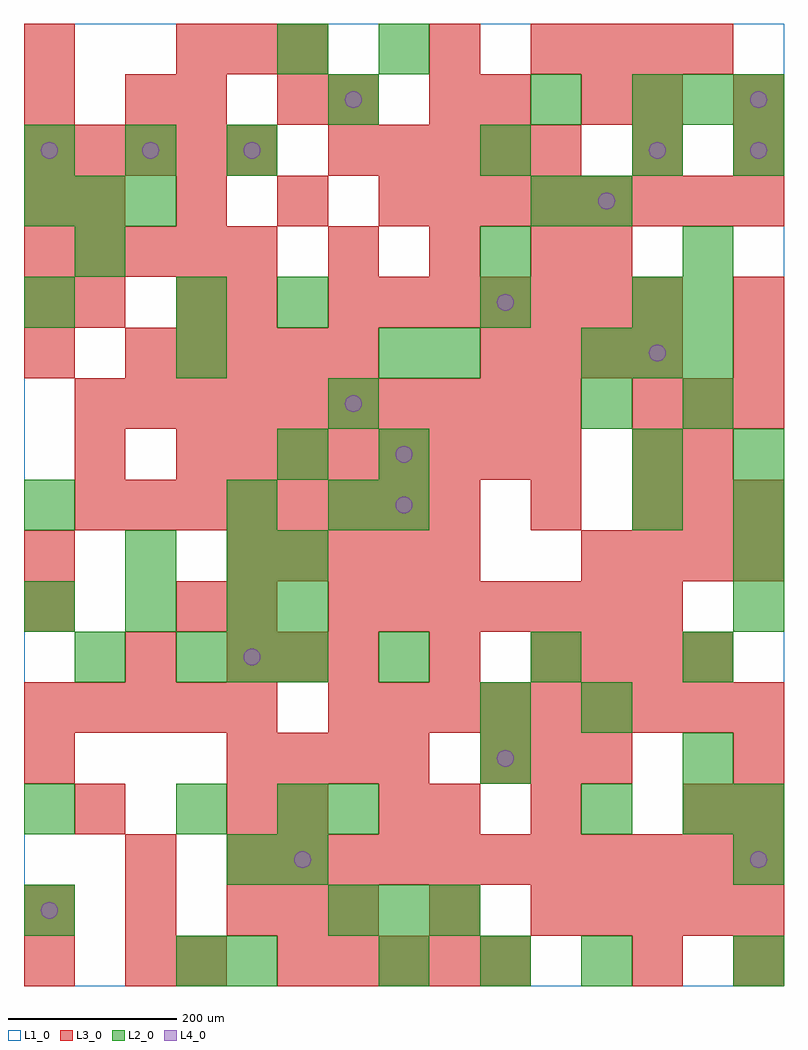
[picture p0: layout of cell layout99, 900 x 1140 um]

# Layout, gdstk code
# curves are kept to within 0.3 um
import gdstk
lib = gdstk.Library(unit=1e-6, precision=1e-09)
def R(c, l, rs):  # rectangles x0, y0, x1, y1
    for r in rs: c.add(gdstk.rectangle(r[:2], r[2:], *l))
def A(c, l, x, y, w, h, nx, ny, dx, dy):  # array of equal rectangles
    R(c, l, [(x+i*dx, y+j*dy, x+i*dx+w, y+j*dy+h) for i in range(nx) for j in range(ny)])
def P(c, l, *ps):  # polygons
    for p in ps: c.add(gdstk.Polygon(p, *l))
L1_0 = (1, 0)
L2_0 = (2, 0)
L3_0 = (3, 0)
L4_0 = (4, 0)

layout99 = lib.new_cell('layout99')
R(layout99, L1_0, [(0,0,900,1140)])
A(layout99, L2_0, 420, 0, 60, 60, 3, 1, 120, 0)
A(layout99, L2_0, 360, 60, 60, 60, 3, 1, 60, 0)
A(layout99, L2_0, 180, 360, 60, 60, 3, 1, 60, 0)
A(layout99, L2_0, 420, 360, 60, 60, 3, 1, 180, 0)
A(layout99, L2_0, 0, 420, 60, 60, 3, 2, 120, 540)
A(layout99, L2_0, 840, 420, 60, 60, 1, 4, 0, 60)
A(layout99, L2_0, 720, 600, 60, 60, 1, 3, 0, 180)
A(layout99, L2_0, 660, 720, 60, 60, 3, 1, 60, 0)
A(layout99, L2_0, 0, 900, 60, 60, 3, 1, 60, 0)
A(layout99, L2_0, 720, 1020, 60, 60, 3, 1, 60, 0)
R(layout99, L2_0, [(180,0,240,60), (240,0,300,60), (840,0,900,60), (0,60,60,120), (240,120,300,180), (300,120,360,180), (840,120,900,180), (0,180,60,240), (180,180,240,240), (300,180,360,240), (360,180,420,240), (660,180,720,240), (780,180,840,240), (840,180,900,240), (540,240,600,300), (780,240,840,300), (540,300,600,360), (660,300,720,360), (60,360,120,420), (300,420,360,480), (120,480,180,540), (240,480,300,540), (300,480,360,540), (0,540,60,600), (240,540,300,600), (360,540,420,600), (420,540,480,600), (720,540,780,600), (300,600,360,660), (420,600,480,660), (360,660,420,720), (660,660,720,720), (780,660,840,720), (180,720,240,780), (420,720,480,780), (480,720,540,780), (0,780,60,840), (180,780,240,840), (300,780,360,840), (540,780,600,840), (780,780,840,840), (60,840,120,900), (540,840,600,900), (780,840,840,900), (600,900,660,960), (660,900,720,960), (540,960,600,1020), (840,960,900,1020), (360,1020,420,1080), (600,1020,660,1080), (300,1080,360,1140), (420,1080,480,1140)])
A(layout99, L3_0, 300, 0, 60, 60, 5, 1, 60, 0)
A(layout99, L3_0, 0, 60, 60, 60, 3, 1, 120, 0)
A(layout99, L3_0, 360, 60, 60, 60, 3, 2, 120, 780)
A(layout99, L3_0, 660, 60, 60, 60, 4, 2, 60, 420)
A(layout99, L3_0, 240, 120, 60, 60, 11, 1, 60, 0)
A(layout99, L3_0, 240, 240, 60, 60, 4, 1, 60, 0)
A(layout99, L3_0, 540, 240, 60, 60, 3, 1, 60, 0)
A(layout99, L3_0, 0, 300, 60, 60, 5, 2, 60, 540)
A(layout99, L3_0, 360, 300, 60, 60, 9, 1, 60, 0)
A(layout99, L3_0, 240, 360, 60, 60, 3, 1, 60, 0)
A(layout99, L3_0, 600, 360, 60, 60, 4, 2, 60, 720)
A(layout99, L3_0, 360, 420, 60, 60, 7, 2, 60, 360)
A(layout99, L3_0, 240, 480, 60, 60, 5, 1, 60, 0)
A(layout99, L3_0, 60, 540, 60, 60, 8, 1, 60, 0)
A(layout99, L3_0, 720, 540, 60, 60, 3, 2, 60, 120)
A(layout99, L3_0, 180, 600, 60, 60, 8, 1, 60, 0)
A(layout99, L3_0, 60, 660, 60, 60, 10, 1, 60, 0)
A(layout99, L3_0, 120, 720, 60, 60, 5, 1, 60, 0)
A(layout99, L3_0, 540, 720, 60, 60, 4, 1, 60, 0)
A(layout99, L3_0, 0, 780, 60, 60, 1, 3, 0, 120)
A(layout99, L3_0, 60, 900, 60, 60, 4, 1, 120, 0)
A(layout99, L3_0, 480, 900, 60, 60, 7, 1, 60, 0)
A(layout99, L3_0, 0, 960, 60, 60, 5, 1, 60, 0)
A(layout99, L3_0, 360, 960, 60, 60, 5, 1, 60, 0)
A(layout99, L3_0, 180, 1080, 60, 60, 3, 1, 60, 0)
R(layout99, L3_0, [(0,0,60,60), (120,0,180,60), (180,0,240,60), (720,0,780,60), (840,0,900,60), (300,60,360,120), (120,120,180,180), (60,180,120,240), (240,180,300,240), (300,180,360,240), (420,180,480,240), (480,180,540,240), (600,180,660,240), (780,180,840,240), (840,180,900,240), (0,240,60,300), (840,240,900,300), (120,360,180,420), (480,360,540,420), (0,420,60,480), (180,420,240,480), (240,420,300,480), (0,480,60,540), (600,540,660,600), (60,600,120,660), (720,600,780,660), (780,600,840,660), (0,720,60,780), (840,720,900,780), (60,780,120,840), (180,780,240,840), (240,780,300,840), (840,780,900,840), (660,840,720,900), (720,960,780,1020), (840,960,900,1020), (120,1020,180,1080), (180,1020,240,1080), (300,1020,360,1080), (360,1020,420,1080), (480,1020,540,1080), (540,1020,600,1080), (660,1020,720,1080), (720,1020,780,1080), (840,1020,900,1080), (0,1080,60,1140), (480,1080,540,1140)])
P(layout99, L4_0, [(40,90),(39.239,93.827),(37.071,97.071),(33.827,99.239),(30,100),(26.173,99.239),(22.929,97.071),(20.761,93.827),(20,90),(20.761,86.173),(22.929,82.929),(26.173,80.761),(30,80),(33.827,80.761),(37.071,82.929),(39.239,86.173)],
  [(40,990),(39.239,993.827),(37.071,997.071),(33.827,999.239),(30,1000),(26.173,999.239),(22.929,997.071),(20.761,993.827),(20,990),(20.761,986.173),(22.929,982.929),(26.173,980.761),(30,980),(33.827,980.761),(37.071,982.929),(39.239,986.173)],
  [(160,990),(159.239,993.827),(157.071,997.071),(153.827,999.239),(150,1000),(146.173,999.239),(142.929,997.071),(140.761,993.827),(140,990),(140.761,986.173),(142.929,982.929),(146.173,980.761),(150,980),(153.827,980.761),(157.071,982.929),(159.239,986.173)],
  [(280,390),(279.239,393.827),(277.071,397.071),(273.827,399.239),(270,400),(266.173,399.239),(262.929,397.071),(260.761,393.827),(260,390),(260.761,386.173),(262.929,382.929),(266.173,380.761),(270,380),(273.827,380.761),(277.071,382.929),(279.239,386.173)],
  [(280,990),(279.239,993.827),(277.071,997.071),(273.827,999.239),(270,1000),(266.173,999.239),(262.929,997.071),(260.761,993.827),(260,990),(260.761,986.173),(262.929,982.929),(266.173,980.761),(270,980),(273.827,980.761),(277.071,982.929),(279.239,986.173)],
  [(340,150),(339.239,153.827),(337.071,157.071),(333.827,159.239),(330,160),(326.173,159.239),(322.929,157.071),(320.761,153.827),(320,150),(320.761,146.173),(322.929,142.929),(326.173,140.761),(330,140),(333.827,140.761),(337.071,142.929),(339.239,146.173)],
  [(400,690),(399.239,693.827),(397.071,697.071),(393.827,699.239),(390,700),(386.173,699.239),(382.929,697.071),(380.761,693.827),(380,690),(380.761,686.173),(382.929,682.929),(386.173,680.761),(390,680),(393.827,680.761),(397.071,682.929),(399.239,686.173)],
  [(400,1050),(399.239,1053.827),(397.071,1057.071),(393.827,1059.239),(390,1060),(386.173,1059.239),(382.929,1057.071),(380.761,1053.827),(380,1050),(380.761,1046.173),(382.929,1042.929),(386.173,1040.761),(390,1040),(393.827,1040.761),(397.071,1042.929),(399.239,1046.173)],
  [(460,570),(459.239,573.827),(457.071,577.071),(453.827,579.239),(450,580),(446.173,579.239),(442.929,577.071),(440.761,573.827),(440,570),(440.761,566.173),(442.929,562.929),(446.173,560.761),(450,560),(453.827,560.761),(457.071,562.929),(459.239,566.173)],
  [(460,630),(459.239,633.827),(457.071,637.071),(453.827,639.239),(450,640),(446.173,639.239),(442.929,637.071),(440.761,633.827),(440,630),(440.761,626.173),(442.929,622.929),(446.173,620.761),(450,620),(453.827,620.761),(457.071,622.929),(459.239,626.173)],
  [(580,270),(579.239,273.827),(577.071,277.071),(573.827,279.239),(570,280),(566.173,279.239),(562.929,277.071),(560.761,273.827),(560,270),(560.761,266.173),(562.929,262.929),(566.173,260.761),(570,260),(573.827,260.761),(577.071,262.929),(579.239,266.173)],
  [(580,810),(579.239,813.827),(577.071,817.071),(573.827,819.239),(570,820),(566.173,819.239),(562.929,817.071),(560.761,813.827),(560,810),(560.761,806.173),(562.929,802.929),(566.173,800.761),(570,800),(573.827,800.761),(577.071,802.929),(579.239,806.173)],
  [(700,930),(699.239,933.827),(697.071,937.071),(693.827,939.239),(690,940),(686.173,939.239),(682.929,937.071),(680.761,933.827),(680,930),(680.761,926.173),(682.929,922.929),(686.173,920.761),(690,920),(693.827,920.761),(697.071,922.929),(699.239,926.173)],
  [(760,750),(759.239,753.827),(757.071,757.071),(753.827,759.239),(750,760),(746.173,759.239),(742.929,757.071),(740.761,753.827),(740,750),(740.761,746.173),(742.929,742.929),(746.173,740.761),(750,740),(753.827,740.761),(757.071,742.929),(759.239,746.173)],
  [(760,990),(759.239,993.827),(757.071,997.071),(753.827,999.239),(750,1000),(746.173,999.239),(742.929,997.071),(740.761,993.827),(740,990),(740.761,986.173),(742.929,982.929),(746.173,980.761),(750,980),(753.827,980.761),(757.071,982.929),(759.239,986.173)],
  [(880,150),(879.239,153.827),(877.071,157.071),(873.827,159.239),(870,160),(866.173,159.239),(862.929,157.071),(860.761,153.827),(860,150),(860.761,146.173),(862.929,142.929),(866.173,140.761),(870,140),(873.827,140.761),(877.071,142.929),(879.239,146.173)],
  [(880,990),(879.239,993.827),(877.071,997.071),(873.827,999.239),(870,1000),(866.173,999.239),(862.929,997.071),(860.761,993.827),(860,990),(860.761,986.173),(862.929,982.929),(866.173,980.761),(870,980),(873.827,980.761),(877.071,982.929),(879.239,986.173)],
  [(880,1050),(879.239,1053.827),(877.071,1057.071),(873.827,1059.239),(870,1060),(866.173,1059.239),(862.929,1057.071),(860.761,1053.827),(860,1050),(860.761,1046.173),(862.929,1042.929),(866.173,1040.761),(870,1040),(873.827,1040.761),(877.071,1042.929),(879.239,1046.173)])

lib.write_gds('layout99.gds')
